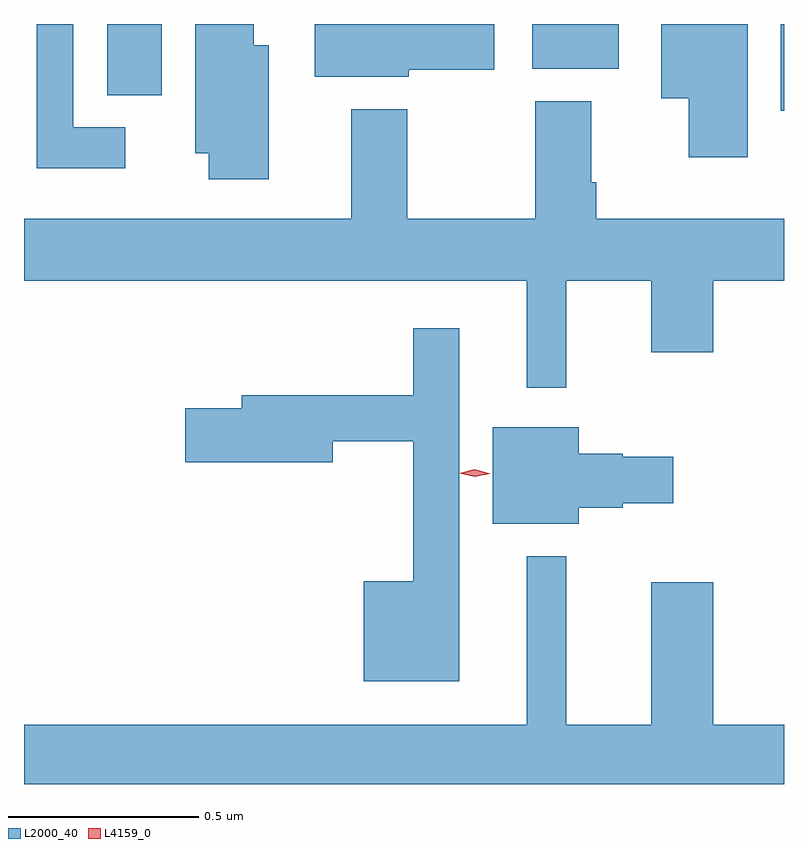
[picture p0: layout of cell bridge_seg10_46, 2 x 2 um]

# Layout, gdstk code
import gdstk
lib = gdstk.Library(unit=1e-6, precision=1e-09)
def R(c, l, rs):  # rectangles x0, y0, x1, y1
    for r in rs: c.add(gdstk.rectangle(r[:2], r[2:], *l))
def P(c, l, *ps):  # polygons
    for p in ps: c.add(gdstk.Polygon(p, *l))
L2000_40 = (2000, 40)
L4159_0 = (4159, 0)

bridge_seg10_46 = lib.new_cell('bridge_seg10_46')
R(bridge_seg10_46, L2000_40, [(884.63,1291.44,884.638,1291.668), (882.857,1291.481,883,1291.668), (883.976,1291.55,884.203,1291.668)])
P(bridge_seg10_46, L2000_40, [(882.904,1291.396),(882.768,1291.396),(882.768,1291.668),(882.672,1291.668),(882.672,1291.289),(882.904,1291.289)],
  [(883.282,1291.612),(883.243,1291.612),(883.243,1291.668),(883.088,1291.668),(883.088,1291.328),(883.124,1291.328),(883.124,1291.26),(883.282,1291.26)],
  [(884.542,1291.668),(884.315,1291.668),(884.315,1291.472),(884.387,1291.472),(884.387,1291.317),(884.542,1291.317)],
  [(883.65,1291.547),(883.876,1291.547),(883.876,1291.668),(883.403,1291.668),(883.403,1291.529),(883.65,1291.529)],
  [(884.065,1290.992),(884.288,1290.992),(884.288,1290.804),(884.452,1290.804),(884.452,1290.992),(884.638,1290.992),(884.638,1291.156),(884.144,1291.156),(884.144,1291.252),(884.131,1291.252),(884.131,1291.465),(883.984,1291.465),(883.984,1291.156),(883.647,1291.156),(883.647,1291.444),(883.499,1291.444),(883.499,1291.156),(882.638,1291.156),(882.638,1290.992),(883.961,1290.992),(883.961,1290.711),(884.065,1290.711)],
  [(883.783,1290.868),(883.662,1290.868),(883.662,1290.691),(883.211,1290.691),(883.211,1290.657),(883.062,1290.657),(883.062,1290.515),(883.45,1290.515),(883.45,1290.57),(883.662,1290.57),(883.662,1290.202),(883.532,1290.202),(883.532,1289.939),(883.783,1289.939)],
  [(884.098,1290.395),(884.214,1290.395),(884.214,1290.407),(884.347,1290.407),(884.347,1290.529),(884.214,1290.529),(884.214,1290.537),(884.098,1290.537),(884.098,1290.607),(883.871,1290.607),(883.871,1290.353),(884.098,1290.353)],
  [(884.638,1289.824),(884.452,1289.824),(884.452,1290.199),(884.288,1290.199),(884.288,1289.824),(884.065,1289.824),(884.065,1290.268),(883.961,1290.268),(883.961,1289.824),(882.638,1289.824),(882.638,1289.668),(884.638,1289.668)])
P(bridge_seg10_46, L4159_0, [(883.824,1290.476),(883.783,1290.486),(883.783,1290.486),(883.783,1290.486),(883.824,1290.496),(883.865,1290.485),(883.865,1290.485),(883.865,1290.485)])

lib.write_gds('bridge_seg10_46.gds')
